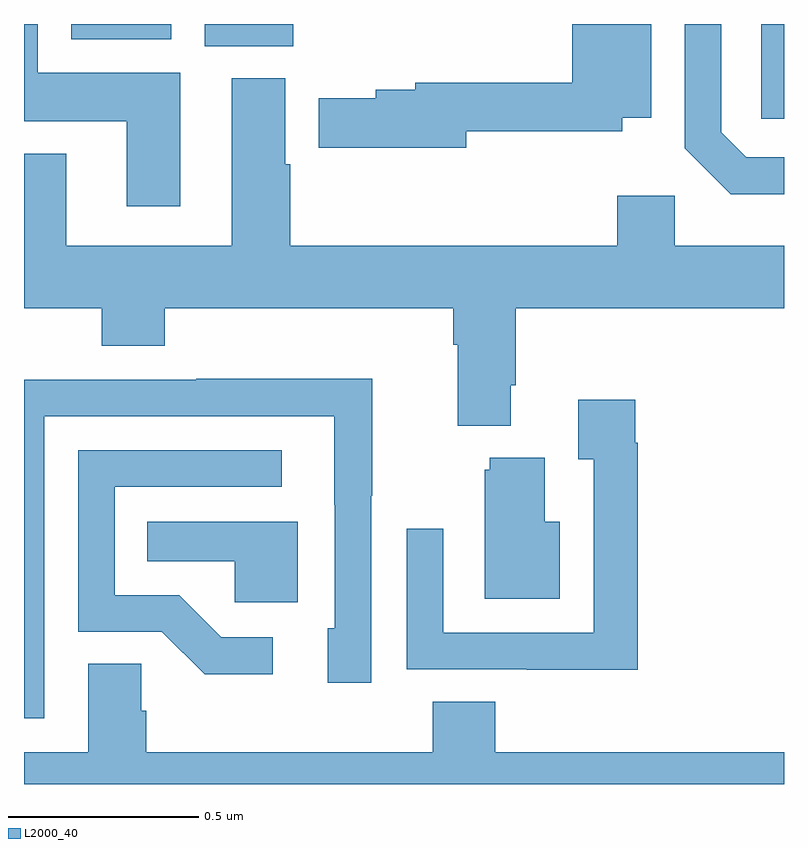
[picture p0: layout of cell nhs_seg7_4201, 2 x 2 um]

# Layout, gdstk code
import gdstk
lib = gdstk.Library(unit=1e-6, precision=1e-09)
def R(c, l, rs):  # rectangles x0, y0, x1, y1
    for r in rs: c.add(gdstk.rectangle(r[:2], r[2:], *l))
def P(c, l, *ps):  # polygons
    for p in ps: c.add(gdstk.Polygon(p, *l))
L2000_40 = (2000, 40)

nhs_seg7_4201 = lib.new_cell('nhs_seg7_4201')
R(nhs_seg7_4201, L2000_40, [(170.94,1031.751,171,1032), (169.475,1031.942,169.708,1032), (169.124,1031.96,169.387,1032)])
P(nhs_seg7_4201, L2000_40, [(169.411,1031.872),(169.036,1031.872),(169.036,1032),(169,1032),(169,1031.744),(169.271,1031.744),(169.271,1031.52),(169.411,1031.52)],
  [(170.164,1031.718),(170.574,1031.718),(170.574,1031.753),(170.65,1031.753),(170.65,1032),(170.443,1032),(170.443,1031.846),(170.029,1031.846),(170.029,1031.827),(169.925,1031.827),(169.925,1031.805),(169.776,1031.805),(169.776,1031.675),(170.164,1031.675)],
  [(171,1031.649),(170.901,1031.649),(170.835,1031.715),(170.835,1032),(170.739,1032),(170.739,1031.673),(170.86,1031.552),(171,1031.552)],
  [(169.111,1031.659),(169,1031.659),(169,1031.252),(169.205,1031.252),(169.205,1031.153),(169.37,1031.153),(169.37,1031.252),(170.129,1031.252),(170.129,1031.156),(170.141,1031.156),(170.141,1030.943),(170.281,1030.943),(170.281,1031.05),(170.294,1031.05),(170.294,1031.252),(171,1031.252),(171,1031.416),(170.712,1031.416),(170.712,1031.548),(170.561,1031.548),(170.561,1031.416),(169.7,1031.416),(169.7,1031.631),(169.687,1031.631),(169.687,1031.857),(169.547,1031.857),(169.547,1031.416),(169.111,1031.416)],
  [(169.053,1030.968),(169.817,1030.968),(169.817,1030.735),(169.818,1030.735),(169.818,1030.41),(169.799,1030.41),(169.799,1030.266),(169.914,1030.266),(169.914,1030.759),(169.917,1030.759),(169.917,1031.066),(169.453,1031.066),(169.453,1031.064),(169,1031.064),(169,1030.173),(169.053,1030.173)],
  [(170.615,1030.898),(170.608,1030.898),(170.608,1031.011),(170.459,1031.011),(170.459,1030.855),(170.499,1030.855),(170.499,1030.398),(170.103,1030.398),(170.103,1030.672),(170.007,1030.672),(170.007,1030.302),(170.323,1030.302),(170.323,1030.301),(170.615,1030.301)],
  [(169.654,1030.386),(169.519,1030.386),(169.408,1030.497),(169.239,1030.497),(169.239,1030.782),(169.678,1030.782),(169.678,1030.878),(169.143,1030.878),(169.143,1030.401),(169.362,1030.401),(169.475,1030.289),(169.654,1030.289)],
  [(170.41,1030.69),(170.371,1030.69),(170.371,1030.858),(170.225,1030.858),(170.225,1030.827),(170.213,1030.827),(170.213,1030.487),(170.41,1030.487)],
  [(169.72,1030.69),(169.324,1030.69),(169.324,1030.586),(169.555,1030.586),(169.555,1030.478),(169.72,1030.478)],
  [(171,1030.084),(170.24,1030.084),(170.24,1030.217),(170.075,1030.217),(170.075,1030.084),(169.322,1030.084),(169.322,1030.193),(169.308,1030.193),(169.308,1030.316),(169.169,1030.316),(169.169,1030.084),(169,1030.084),(169,1030),(171,1030)])

lib.write_gds('nhs_seg7_4201.gds')
